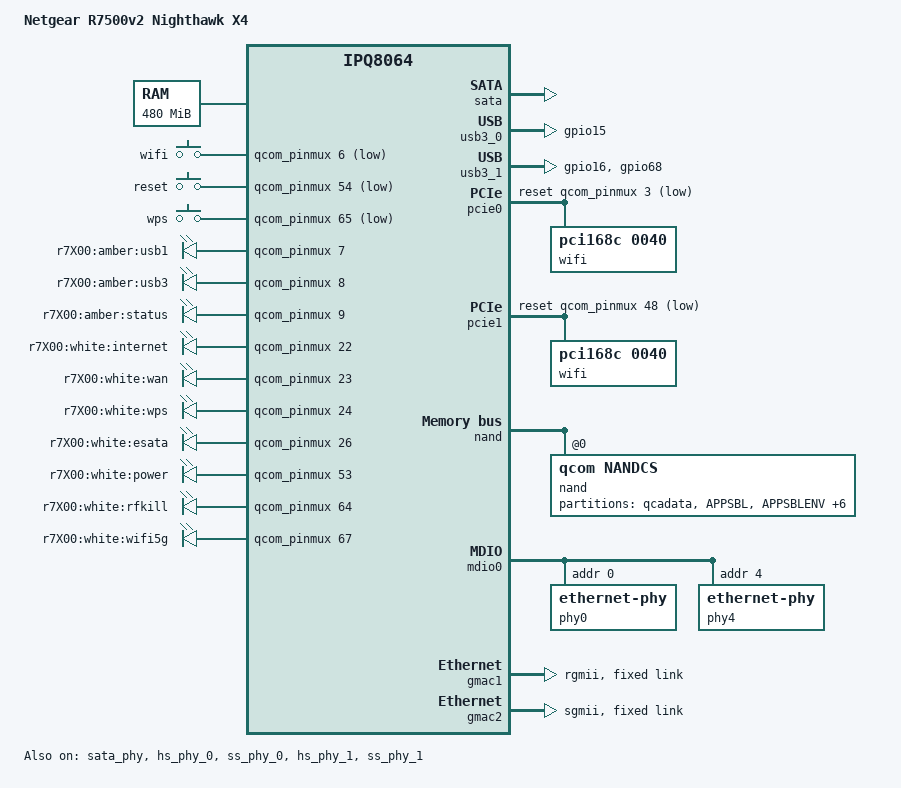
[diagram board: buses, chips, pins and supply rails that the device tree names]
#include "qcom-ipq8064-v2.0-smb208.dtsi"

#include <dt-bindings/input/input.h>

/ {
	model = "Netgear R7500v2 Nighthawk X4";
	compatible = "netgear,r7500v2", "qcom,ipq8064";


	/delete-node/ memory;
	memory {
		device_type = "memory";
		linux,useable-memory = <0x40000000 0x1e000000>;
	};

	memory@0 {
		reg = <0x42000000 0x1e000000>;
		device_type = "memory";
	};

	reserved-memory {
		rsvd@5fe00000 {
			reg = <0x5fe00000 0x200000>;
			reusable;
		};
	};

	aliases {
		mdio-gpio0 = &mdio0;
	};

	chosen {
		bootargs = "console=ttyMSM0,115200n8 nohz_full=all rootfstype=squashfs noinitrd root=/dev/mtdblock6";
	};

	keys {
		compatible = "gpio-keys";
		pinctrl-0 = <&button_pins>;
		pinctrl-names = "default";

		wifi {
			label = "wifi";
			gpios = <&qcom_pinmux 6 GPIO_ACTIVE_LOW>;
			linux,code = <KEY_RFKILL>;
			debounce-interval = <60>;
			wakeup-source;
		};

		reset {
			label = "reset";
			gpios = <&qcom_pinmux 54 GPIO_ACTIVE_LOW>;
			linux,code = <KEY_RESTART>;
			debounce-interval = <60>;
			wakeup-source;
		};

		wps {
			label = "wps";
			gpios = <&qcom_pinmux 65 GPIO_ACTIVE_LOW>;
			linux,code = <KEY_WPS_BUTTON>;
			debounce-interval = <60>;
			wakeup-source;
		};
	};

	gpio-leds {
		compatible = "gpio-leds";
		pinctrl-0 = <&led_pins>;
		pinctrl-names = "default";

		usb1 {
			label = "r7X00:amber:usb1";
			gpios = <&qcom_pinmux 7 0>;
		};

		usb3 {
			label = "r7X00:amber:usb3";
			gpios = <&qcom_pinmux 8 0>;
		};

		status {
			label = "r7X00:amber:status";
			gpios = <&qcom_pinmux 9 0>;
		};

		internet {
			label = "r7X00:white:internet";
			gpios = <&qcom_pinmux 22 0>;
		};

		wan {
			label = "r7X00:white:wan";
			gpios = <&qcom_pinmux 23 0>;
		};

		wps {
			label = "r7X00:white:wps";
			gpios = <&qcom_pinmux 24 0>;
		};

		esata {
			label = "r7X00:white:esata";
			gpios = <&qcom_pinmux 26 0>;
		};

		power {
			label = "r7X00:white:power";
			gpios = <&qcom_pinmux 53 0>;
			default-state = "on";
		};

		rfkill {
			label = "r7X00:white:rfkill";
			gpios = <&qcom_pinmux 64 0>;
		};

		wifi5g {
			label = "r7X00:white:wifi5g";
			gpios = <&qcom_pinmux 67 0>;
		};
	};

};


&adm_dma {
	status = "okay";
};

&qcom_pinmux {
	button_pins: button_pins {
		mux {
			pins = "gpio6", "gpio54", "gpio65";
			function = "gpio";
			drive-strength = <2>;
			bias-pull-up;
		};
	};

	led_pins: led_pins {
		mux {
			pins = "gpio7", "gpio8", "gpio9", "gpio22", "gpio23",
				"gpio24","gpio26", "gpio53", "gpio64";
			function = "gpio";
			drive-strength = <2>;
			bias-pull-up;
		};
	};

	usb0_pwr_en_pins: usb0_pwr_en_pins {
		mux {
			pins = "gpio15";
			function = "gpio";
			drive-strength = <12>;
			bias-pull-down;
			output-high;
		};
	};

	usb1_pwr_en_pins: usb1_pwr_en_pins {
		mux {
			pins = "gpio16", "gpio68";
			function = "gpio";
			drive-strength = <12>;
			bias-pull-down;
			output-high;
		};
	};
};

&sata_phy {
	status = "okay";
};

&sata {
	status = "okay";
};

&hs_phy_0 {
	status = "okay";
};

&ss_phy_0 {
	status = "okay";
};

&usb3_0 {
	status = "okay";

	pinctrl-0 = <&usb0_pwr_en_pins>;
	pinctrl-names = "default";
};

&hs_phy_1 {
	status = "okay";
};

&ss_phy_1 {
	status = "okay";
};

&usb3_1 {
	status = "okay";

	pinctrl-0 = <&usb1_pwr_en_pins>;
	pinctrl-names = "default";
};

&pcie0 {
	status = "okay";
	reset-gpio = <&qcom_pinmux 3 GPIO_ACTIVE_LOW>;
	pinctrl-0 = <&pcie0_pins>;
	pinctrl-names = "default";

	bridge@0,0 {
		reg = <0x00000000 0 0 0 0>;
		#address-cells = <3>;
		#size-cells = <2>;
		ranges;

		wifi@1,0 {
			compatible = "pci168c,0040";
			reg = <0x00010000 0 0 0 0>;
		};
	};
};

&pcie1 {
	status = "okay";
	reset-gpio = <&qcom_pinmux 48 GPIO_ACTIVE_LOW>;
	pinctrl-0 = <&pcie1_pins>;
	pinctrl-names = "default";
	max-link-speed = <1>;

	bridge@0,0 {
		reg = <0x00000000 0 0 0 0>;
		#address-cells = <3>;
		#size-cells = <2>;
		ranges;

		wifi@1,0 {
			compatible = "pci168c,0040";
			reg = <0x00010000 0 0 0 0>;
		};
	};
};

&nand {
	status = "okay";

	nand@0 {
		reg = <0>;
		compatible = "qcom,nandcs";

		nand-ecc-strength = <4>;
		nand-bus-width = <8>;
		nand-ecc-step-size = <512>;

		nand-is-boot-medium;
		qcom,boot-partitions = <0x0 0x1180000>;

				partitions {
					compatible = "fixed-partitions";
					#address-cells = <1>;
					#size-cells = <1>;


			qcadata@0 {
				label = "qcadata";
				reg = <0x0000000 0x0c80000>;
				read-only;
			};

			APPSBL@c80000 {
				label = "APPSBL";
				reg = <0x0c80000 0x0500000>;
				read-only;
			};

			APPSBLENV@1180000 {
				label = "APPSBLENV";
				reg = <0x1180000 0x0080000>;
				read-only;
			};

			art: art@1200000 {
				label = "art";
				reg = <0x1200000 0x0140000>;
			};
			
			artbak@1340000 {
				label = "artbak";
				reg = <0x1340000 0x0140000>;
				read-only;
			};

			linux@1480000 {
				label = "linux";
				reg = <0x1480000 0x1fe0000>;
			};
			
			nvram@3460000 {
				label = "nvram";
				reg = <0x3460000 0x0020000>;
			};

			ddwrt@3480000 {
				label = "ddwrt";
				reg = <0x3480000 0x4880000>;
			};

			dnidata@7d00000 {
				label = "dnidata";
				reg = <0x7d00000 0x0300000>;
			};
		};

	};
};

&mdio0 {
	status = "okay";

	pinctrl-0 = <&mdio0_pins>;
	pinctrl-names = "default";

			phy0: ethernet-phy@0 {
				device_type = "ethernet-phy";
				reg = <0>;
				qca,ar8327-initvals = <
					0x00004 0x7600000   /* PAD0_MODE */
					0x00008 0x1000000   /* PAD5_MODE */
					0x0000c 0x80        /* PAD6_MODE */
					0x000e4 0xaa545     /* MAC_POWER_SEL */
					0x000e0 0xc74164de  /* SGMII_CTRL */
					0x0007c 0x4e        /* PORT0_STATUS */
					0x00094 0x4e        /* PORT6_STATUS */
					>;
			};

			phy4: ethernet-phy@4 {
				device_type = "ethernet-phy";
				reg = <4>;
			};
};

&gmac1 {
	status = "okay";
	qcom,phy-mdio-addr = <4>;
	qcom,poll-required = <0>;
	qcom,rgmii-delay = <1>;
	phy-mode = "rgmii";
	qcom,id = <1>;

	pinctrl-0 = <&rgmii2_pins>;
	pinctrl-names = "default";

	mtd-mac-address = <&art 6>;

	fixed-link {
		speed = <1000>;
		full-duplex;
	};
};

&gmac2 {
	status = "okay";
	qcom,phy-mdio-addr = <0>;
	qcom,poll-required = <0>;	
	qcom,rgmii-delay = <0>;
	phy-mode = "sgmii";
	qcom,id = <2>;

	mtd-mac-address = <&art 0>;

	fixed-link {
		speed = <1000>;
		full-duplex;
	};
};
